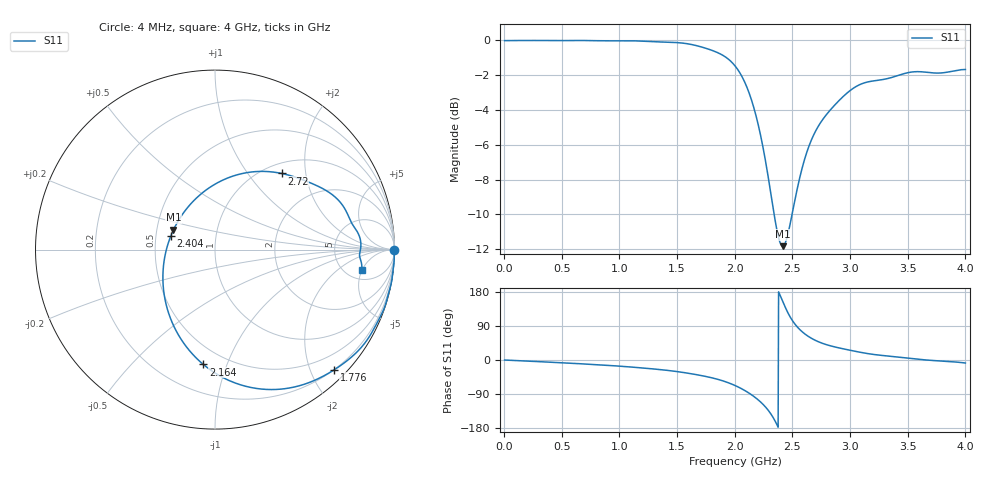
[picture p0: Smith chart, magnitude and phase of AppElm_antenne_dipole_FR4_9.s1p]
! TOUCHSTONE file generated by CST MICROWAVE STUDIO
! Date and time: Thu May 12 15:28:15 2022
! Project name: AppElm_antenne_dipole_FR4.cst
! Parameters = {L=38.8; e=0.035; f=2.45e+09; h=1.6; i=0.8; l1=4.6; lambda=122.449; ls=30; wl=1.7; ws=80}
! Header version: 2018
! Port assignment regex: !\s*Touchstone port\s*([0-9]+)\s*=\s*(CST MWS port|CST DS port)\s*([0-9]+|Zmin|Zmax)\s*\(\"(.*)\"\)(\s*mode\s*([0-9]+))?.*
! Touchstone port assignment:
! Touchstone port 1 = CST MWS port 1 ("")
# GHz S MA R 50
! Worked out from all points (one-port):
!   1000 points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, 4 MHz to 4 GHz, reference 50 ohm
!   lowest |S11| = -11.8 dB at 2.416 GHz (marker M1), VSWR 1.69, Z = 30.6 + j7.21 ohm
!   |S11| at or under -10 dB: 2.341 GHz to 2.497 GHz (155.6 MHz wide, 6.43 % of centre)
!   S11 on the Smith chart (normalised r, x): 4 MHz: open; 1.776 GHz: 0.20, -2.39; 2.164 GHz: 0.38, -0.83; 2.404 GHz: 0.60, +0.10; 2.72 GHz: 1.18, +1.47; 4 GHz: 6.89, -4.90
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0.004  0.9988 -0.1
0.504  0.999 -7.3
1.004  0.9982 -16.3
1.276  0.9924 -23.1
1.504  0.9857 -30.7
1.644  0.9705 -37.4
1.776  0.9432 -45.2
1.896  0.9065 -55.0
2.004  0.8437 -67.5
2.088  0.7567 -80.7
2.164  0.643 -95.8
2.232  0.5178 -113.1
2.288  0.4087 -131.8
2.344  0.3123 -157.8
2.404  0.2577 163.1
2.416  0.2562 154.5
2.452  0.2704 130.0
2.504  0.325 102.1
2.552  0.388 84.0
2.6  0.4487 70.6
2.652  0.5054 59.6
2.72  0.5634 48.9
2.832  0.6331 37.2
3.004  0.7193 25.4
3.156  0.7602 16.8
3.504  0.8082 5.2
3.66  0.8104 0.0
4  0.825 -7.9
